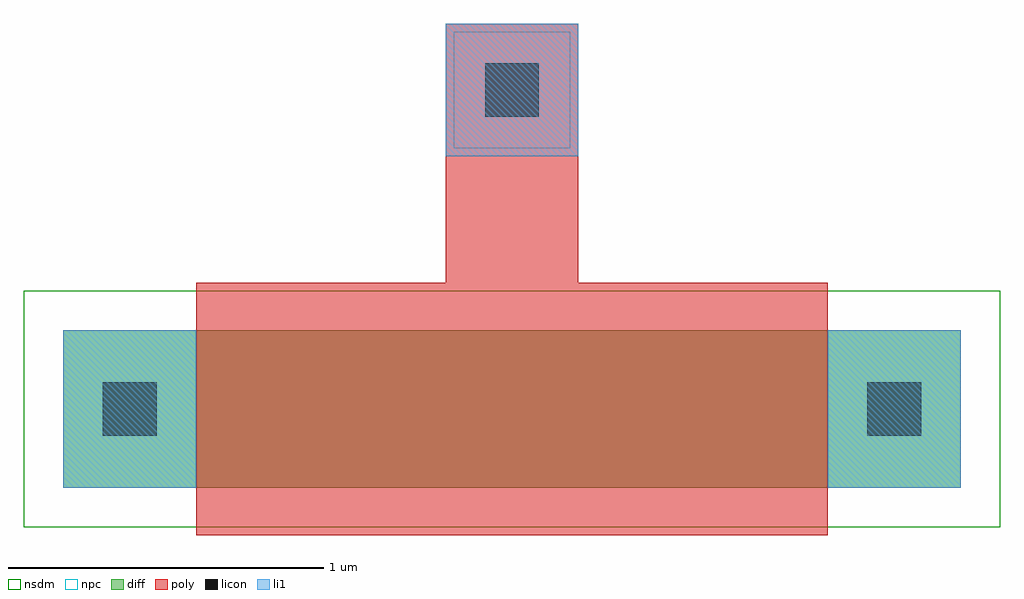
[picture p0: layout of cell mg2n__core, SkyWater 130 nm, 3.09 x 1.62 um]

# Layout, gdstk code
import gdstk
lib = gdstk.Library(unit=1e-6, precision=1e-09)
def R(c, l, rs):  # rectangles x0, y0, x1, y1
    for r in rs: c.add(gdstk.rectangle(r[:2], r[2:], *l))
diff = (65, 20)
poly = (66, 20)
licon = (66, 44)
li1 = (67, 20)
nsdm = (93, 44)
npc = (95, 20)

mg2n__core = lib.new_cell('mg2n__core')
R(mg2n__core, diff, [(0,0,2.84,0.5)])
R(mg2n__core, poly, [(0.42,-0.15,2.42,0.5), (0.42,0.5,2.42,0.65), (0.42,0.5,2.42,0.65), (1.21,0.65,1.63,1.47)])
R(mg2n__core, licon, [(0.125,0.165,0.295,0.335), (2.545,0.165,2.715,0.335), (1.335,1.175,1.505,1.345)])
R(mg2n__core, li1, [(0,0,0.42,0.5), (2.42,0,2.84,0.5), (1.21,1.05,1.63,1.47)])
R(mg2n__core, nsdm, [(-0.125,-0.125,2.965,0.625)])
R(mg2n__core, npc, [(1.235,1.075,1.605,1.445)])

lib.write_gds('mg2n__core.gds')
